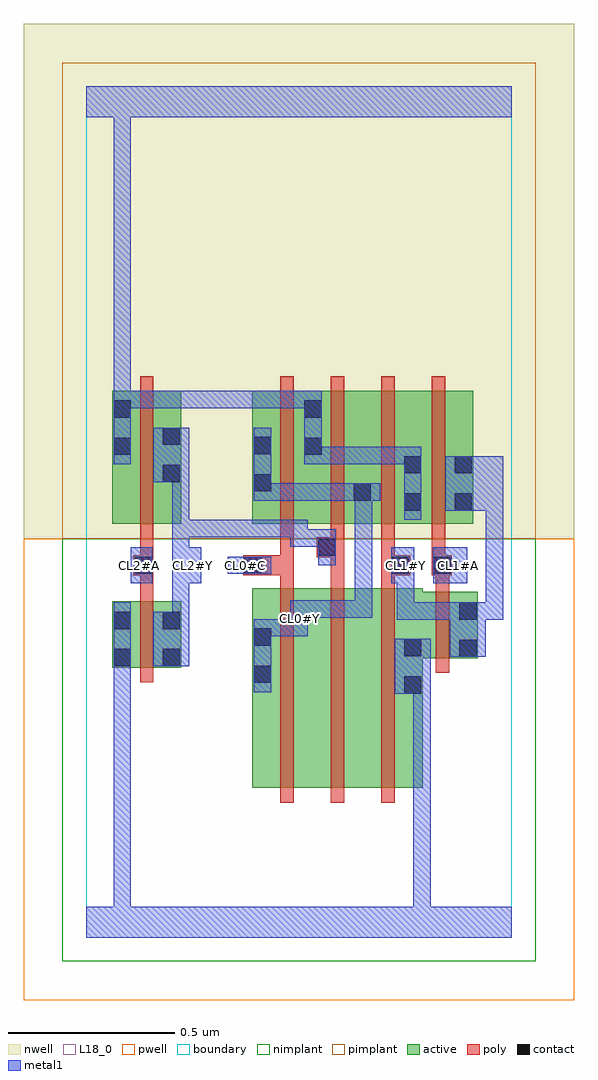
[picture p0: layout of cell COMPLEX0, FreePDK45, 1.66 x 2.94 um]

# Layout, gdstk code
import gdstk
lib = gdstk.Library(unit=1e-6, precision=1e-09)
def R(c, l, rs):  # rectangles x0, y0, x1, y1
    for r in rs: c.add(gdstk.rectangle(r[:2], r[2:], *l))
def A(c, l, x, y, w, h, nx, ny, dx, dy):  # array of equal rectangles
    R(c, l, [(x+i*dx, y+j*dy, x+i*dx+w, y+j*dy+h) for i in range(nx) for j in range(ny)])
active = (1, 0)
pwell = (2, 0)
nwell = (3, 0)
nimplant = (4, 0)
pimplant = (5, 0)
poly = (9, 0)
contact = (10, 0)
metal1 = (11, 0)
L18_0 = (18, 0)
boundary = (235, 0)

complex0 = lib.new_cell('COMPLEX0')
R(complex0, active, [(0.5,0.45,0.68,1.05), (0.68,0.45,0.832,1.05), (0.832,0.45,1.012,1.05), (0.952,0.45,1.012,0.902), (0.5,0.556,0.56,1.05), (0.078,0.812,0.138,1.012), (0.078,0.812,0.286,1.012), (0.226,0.812,0.286,1.012), (0.952,0.84,1.178,1.04), (1.118,0.84,1.178,1.04), (0.078,1.244,0.138,1.644), (0.078,1.244,0.286,1.644), (0.226,1.244,0.286,1.644), (0.5,1.244,0.56,1.644), (0.5,1.244,0.712,1.644), (0.652,1.244,0.86,1.644), (0.8,1.244,1.012,1.644), (0.952,1.244,1.164,1.644), (1.104,1.244,1.164,1.644), (0.952,1.28,1.012,1.644), (0.652,1.288,0.712,1.644), (0.8,1.31,0.86,1.644)])
R(complex0, pwell, [(-0.188,-0.188,1.468,1.2)])
R(complex0, nwell, [(-0.188,1.2,1.468,2.748)])
R(complex0, nimplant, [(-0.072,-0.072,1.352,1.2)])
R(complex0, pimplant, [(-0.072,1.2,1.352,2.632)])
A(complex0, poly, 0.584, 0.406, 0.04, 0.688, 3, 1, 0.152, 0)
A(complex0, poly, 0.584, 1.2, 0.04, 0.488, 4, 1, 0.152, 0)
R(complex0, poly, [(0.162,0.768,0.202,1.056), (1.052,0.796,1.092,1.084), (0.162,1.016,0.202,1.13), (1.052,1.044,1.092,1.13), (0.584,1.054,0.624,1.13), (0.736,1.054,0.776,1.184), (0.888,1.054,0.928,1.13), (0.142,1.09,0.202,1.15), (0.162,1.09,0.202,1.13), (0.162,1.09,0.202,1.13), (0.472,1.09,0.624,1.15), (0.888,1.09,0.974,1.15), (1.04,1.09,1.1,1.15), (1.052,1.09,1.092,1.13), (1.052,1.09,1.092,1.13), (0.162,1.11,0.202,1.24), (0.584,1.11,0.624,1.24), (0.584,1.11,0.624,1.15), (0.584,1.11,0.624,1.15), (0.888,1.11,0.928,1.24), (0.888,1.11,0.928,1.15), (0.888,1.11,0.928,1.15), (1.04,1.11,1.08,1.24), (0.694,1.144,0.776,1.204), (0.736,1.144,0.776,1.184), (0.736,1.144,0.776,1.184), (0.736,1.164,0.776,1.24), (0.162,1.2,0.202,1.688)])
R(complex0, contact, [(0.956,0.734,1.008,0.786), (0.504,0.766,0.556,0.818), (0.082,0.816,0.134,0.868), (0.23,0.816,0.282,0.868), (1.122,0.844,1.174,0.896), (0.956,0.846,1.008,0.898), (0.504,0.878,0.556,0.93), (0.082,0.928,0.134,0.98), (0.23,0.928,0.282,0.98), (1.122,0.956,1.174,1.008), (0.146,1.094,0.198,1.146), (0.476,1.094,0.528,1.146), (0.918,1.094,0.97,1.146), (1.044,1.094,1.096,1.146), (0.698,1.148,0.75,1.2), (0.956,1.284,1.008,1.336), (1.108,1.284,1.16,1.336), (0.804,1.314,0.856,1.366), (0.504,1.342,0.556,1.394), (0.23,1.37,0.282,1.422), (0.956,1.396,1.008,1.448), (1.108,1.396,1.16,1.448), (0.082,1.452,0.134,1.504), (0.656,1.452,0.708,1.504), (0.504,1.454,0.556,1.506), (0.23,1.482,0.282,1.534), (0.082,1.564,0.134,1.616), (0.656,1.564,0.708,1.616)])
R(complex0, metal1, [(0,0,1.28,0.092), (0.082,0.04,0.134,0.092), (0.082,0.04,0.134,0.092), (0.082,0.04,0.134,0.092), (0.082,0.04,0.134,0.092), (0.082,0.04,0.134,0.092), (0.082,0.04,0.134,0.092), (0.082,0.04,0.134,0.092), (0.082,0.04,0.134,0.092), (0.082,0.04,0.134,0.092), (0.082,0.04,0.134,0.092), (0.082,0.04,0.134,0.092), (0.082,0.04,0.134,0.092), (0.082,0.04,0.134,0.092), (0.082,0.04,0.134,0.092), (0.082,0.04,0.134,0.092), (0.082,0.04,0.134,0.092), (0.082,0.04,0.134,0.84), (0.984,0.04,1.036,0.092), (0.984,0.04,1.036,0.092), (0.984,0.04,1.036,0.092), (0.984,0.04,1.036,0.092), (0.984,0.04,1.036,0.092), (0.984,0.04,1.036,0.092), (0.984,0.04,1.036,0.092), (0.984,0.04,1.036,0.092), (0.984,0.04,1.036,0.786), (0.928,0.734,1.036,0.898), (0.504,0.738,0.556,0.958), (0.082,0.788,0.134,1.008), (0.202,0.816,0.31,0.98), (1.094,0.844,1.202,1.008), (0.504,0.906,0.556,0.958), (0.504,0.906,0.556,0.958), (0.504,0.906,0.666,0.958), (0.614,0.906,0.666,0.958), (0.614,0.906,0.666,0.958), (0.614,0.906,0.666,1.014), (0.258,0.928,0.31,1.118), (0.934,0.956,1.202,1.008), (0.934,0.956,0.986,1.118), (1.15,0.956,1.202,1.008), (1.15,0.956,1.202,1.008), (1.15,0.956,1.202,1.008), (1.15,0.956,1.254,1.008), (1.202,0.956,1.254,1.336), (0.614,0.962,0.666,1.014), (0.614,0.962,0.666,1.014), (0.614,0.962,0.86,1.014), (0.808,0.962,0.86,1.014), (0.808,0.962,0.86,1.014), (0.808,0.962,0.86,1.014), (0.808,0.962,0.86,1.366), (0.134,1.066,0.198,1.174), (0.258,1.066,0.346,1.174), (0.918,1.066,0.986,1.174), (0.934,1.066,0.986,1.118), (1.044,1.066,1.146,1.174), (0.426,1.094,0.556,1.146), (0.698,1.12,0.75,1.228), (0.258,1.122,0.31,1.256), (0.614,1.176,0.75,1.228), (0.614,1.176,0.666,1.256), (0.258,1.204,0.31,1.256), (0.258,1.204,0.456,1.256), (0.258,1.204,0.31,1.422), (0.404,1.204,0.456,1.256), (0.404,1.204,0.456,1.256), (0.404,1.204,0.456,1.256), (0.404,1.204,0.666,1.256), (0.956,1.256,1.008,1.476), (1.08,1.284,1.254,1.448), (1.202,1.284,1.254,1.336), (1.202,1.284,1.254,1.336), (0.504,1.314,0.556,1.366), (0.504,1.314,0.556,1.366), (0.504,1.314,0.556,1.534), (0.504,1.314,0.718,1.366), (0.666,1.314,0.718,1.366), (0.666,1.314,0.718,1.366), (0.666,1.314,0.718,1.366), (0.666,1.314,0.828,1.366), (0.776,1.314,0.884,1.366), (0.202,1.37,0.31,1.534), (0.082,1.424,0.134,1.644), (0.656,1.424,0.708,1.476), (0.656,1.424,0.708,1.476), (0.656,1.424,0.708,1.644), (0.656,1.424,0.86,1.476), (0.808,1.424,0.86,1.476), (0.808,1.424,0.86,1.476), (0.808,1.424,0.86,1.476), (0.808,1.424,1.008,1.476), (0.082,1.592,0.134,1.644), (0.082,1.592,0.134,1.644), (0.082,1.592,0.134,1.644), (0.082,1.592,0.134,1.644), (0.082,1.592,0.134,1.644), (0.082,1.592,0.134,1.644), (0.082,1.592,0.134,1.644), (0.082,1.592,0.134,1.644), (0.082,1.592,0.134,1.644), (0.082,1.592,0.134,1.644), (0.082,1.592,0.31,1.644), (0.082,1.592,0.134,2.52), (0.258,1.592,0.31,1.644), (0.258,1.592,0.42,1.644), (0.368,1.592,0.42,1.644), (0.368,1.592,0.42,1.644), (0.368,1.592,0.42,1.644), (0.368,1.592,0.708,1.644), (0,2.468,1.28,2.56), (0.082,2.468,0.134,2.52), (0.082,2.468,0.134,2.52), (0.082,2.468,0.134,2.52), (0.082,2.468,0.134,2.52), (0.082,2.468,0.134,2.52), (0.082,2.468,0.134,2.52), (0.082,2.468,0.134,2.52), (0.082,2.468,0.134,2.52)])
A(complex0, L18_0, 0.614, 0.906, 0.052, 0.052, 1, 3, 0, 0.028)
A(complex0, L18_0, 0.134, 1.094, 0.052, 0.052, 3, 1, 0.16, 0)
R(complex0, L18_0, [(0,0,1.28,0.092), (0.082,0.04,0.134,0.092), (0.082,0.04,0.134,0.092), (0.082,0.04,0.134,0.092), (0.082,0.04,0.134,0.092), (0.082,0.04,0.134,0.092), (0.082,0.04,0.134,0.092), (0.082,0.04,0.134,0.092), (0.082,0.04,0.134,0.092), (0.082,0.04,0.134,0.092), (0.082,0.04,0.134,0.092), (0.082,0.04,0.134,0.092), (0.082,0.04,0.134,0.092), (0.082,0.04,0.134,0.092), (0.082,0.04,0.134,0.092), (0.082,0.04,0.134,0.092), (0.082,0.04,0.134,0.092), (0.082,0.04,0.134,0.84), (0.984,0.04,1.036,0.092), (0.984,0.04,1.036,0.092), (0.984,0.04,1.036,0.092), (0.984,0.04,1.036,0.092), (0.984,0.04,1.036,0.092), (0.984,0.04,1.036,0.092), (0.984,0.04,1.036,0.092), (0.984,0.04,1.036,0.092), (0.984,0.04,1.036,0.786), (0.928,0.734,1.036,0.898), (0.504,0.738,0.556,0.958), (0.082,0.788,0.134,1.008), (0.202,0.816,0.31,0.98), (1.094,0.844,1.202,1.008), (0.504,0.906,0.556,0.958), (0.504,0.906,0.556,0.958), (0.504,0.906,0.666,0.958), (0.614,0.906,0.666,0.958), (0.614,0.906,0.666,1.014), (0.258,0.928,0.31,1.118), (0.934,0.956,0.986,1.118), (0.934,0.956,1.202,1.008), (1.15,0.956,1.202,1.008), (1.15,0.956,1.202,1.008), (1.15,0.956,1.202,1.008), (1.15,0.956,1.254,1.008), (1.202,0.956,1.254,1.336), (0.614,0.962,0.666,1.014), (0.614,0.962,0.86,1.014), (0.808,0.962,0.86,1.014), (0.808,0.962,0.86,1.014), (0.808,0.962,0.86,1.014), (0.808,0.962,0.86,1.366), (0.134,1.066,0.198,1.174), (0.258,1.066,0.346,1.174), (0.918,1.066,0.986,1.174), (0.934,1.066,0.986,1.118), (1.044,1.066,1.146,1.174), (0.426,1.094,0.556,1.146), (0.934,1.094,0.986,1.146), (1.094,1.094,1.146,1.146), (0.698,1.12,0.75,1.228), (0.258,1.122,0.31,1.256), (0.614,1.176,0.666,1.256), (0.614,1.176,0.75,1.228), (0.258,1.204,0.31,1.256), (0.258,1.204,0.31,1.422), (0.258,1.204,0.456,1.256), (0.404,1.204,0.456,1.256), (0.404,1.204,0.456,1.256), (0.404,1.204,0.456,1.256), (0.404,1.204,0.666,1.256), (0.956,1.256,1.008,1.476), (1.08,1.284,1.254,1.448), (1.202,1.284,1.254,1.336), (1.202,1.284,1.254,1.336), (0.504,1.314,0.556,1.366), (0.504,1.314,0.556,1.366), (0.504,1.314,0.556,1.534), (0.504,1.314,0.718,1.366), (0.666,1.314,0.718,1.366), (0.666,1.314,0.718,1.366), (0.666,1.314,0.718,1.366), (0.666,1.314,0.828,1.366), (0.776,1.314,0.884,1.366), (0.202,1.37,0.31,1.534), (0.082,1.424,0.134,1.644), (0.656,1.424,0.708,1.476), (0.656,1.424,0.708,1.476), (0.656,1.424,0.708,1.644), (0.656,1.424,0.86,1.476), (0.808,1.424,0.86,1.476), (0.808,1.424,0.86,1.476), (0.808,1.424,0.86,1.476), (0.808,1.424,1.008,1.476), (0.082,1.592,0.134,1.644), (0.082,1.592,0.134,1.644), (0.082,1.592,0.134,1.644), (0.082,1.592,0.134,1.644), (0.082,1.592,0.134,1.644), (0.082,1.592,0.134,1.644), (0.082,1.592,0.134,1.644), (0.082,1.592,0.134,1.644), (0.082,1.592,0.134,1.644), (0.082,1.592,0.134,1.644), (0.082,1.592,0.134,2.52), (0.082,1.592,0.31,1.644), (0.258,1.592,0.31,1.644), (0.258,1.592,0.42,1.644), (0.368,1.592,0.42,1.644), (0.368,1.592,0.42,1.644), (0.368,1.592,0.42,1.644), (0.368,1.592,0.708,1.644), (0,2.468,1.28,2.56), (0.082,2.468,0.134,2.52), (0.082,2.468,0.134,2.52), (0.082,2.468,0.134,2.52), (0.082,2.468,0.134,2.52), (0.082,2.468,0.134,2.52), (0.082,2.468,0.134,2.52), (0.082,2.468,0.134,2.52), (0.082,2.468,0.134,2.52)])
R(complex0, boundary, [(0,0,1.28,2.56)])
complex0.add(gdstk.Label('CL0#C', (0.48,1.12), layer=11, texttype=0))
complex0.add(gdstk.Label('CL0#Y', (0.64,0.96), layer=11, texttype=0))
complex0.add(gdstk.Label('CL1#A', (1.12,1.12), layer=11, texttype=0))
complex0.add(gdstk.Label('CL1#Y', (0.96,1.12), layer=11, texttype=0))
complex0.add(gdstk.Label('CL2#A', (0.16,1.12), layer=11, texttype=0))
complex0.add(gdstk.Label('CL2#Y', (0.32,1.12), layer=11, texttype=0))

lib.write_gds('COMPLEX0.gds')
